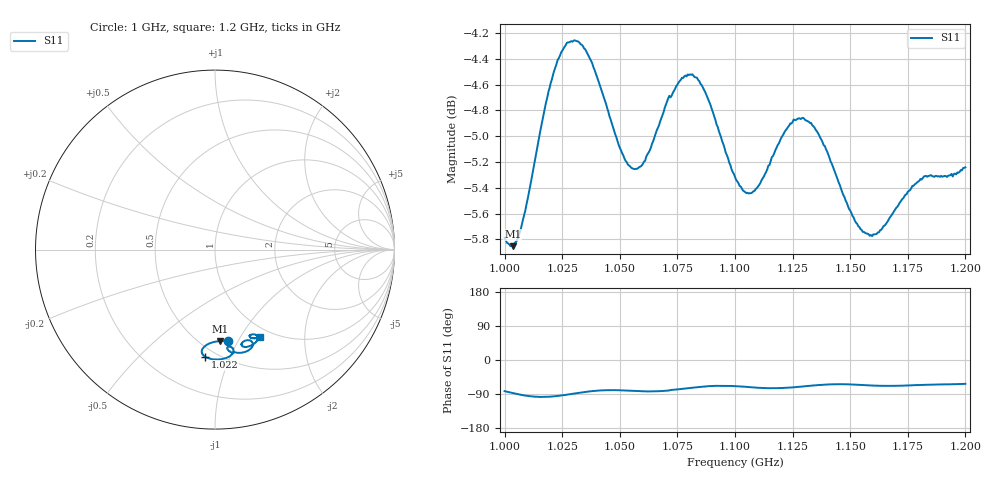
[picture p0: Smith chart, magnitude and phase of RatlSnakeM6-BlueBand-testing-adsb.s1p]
! NanoVNA-App
! Date: 2026-05-22 19:43:28
! Start: 1GHz Stop: 1.2GHz Points: 401
! S-Parameter data: F S11
# Hz S RI R 50
!  Frequency  S11_Real  S11_Imag
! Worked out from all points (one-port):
!   401 points, 1 GHz to 1.2 GHz, reference 50 ohm
!   lowest |S11| = -5.9 dB at 1.004 GHz (marker M1), VSWR 3.08, Z = 30.7 - j42.2 ohm
!   |S11| at or under -10 dB: nowhere
!   S11 on the Smith chart (normalised r, x): 1 GHz: 0.65, -0.91; 1.022 GHz: 0.44, -0.81; 1.2 GHz: 0.88, -1.22
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1e9  0.0697 -0.5089
1.0035e9  0.0267 -0.509
1.009e9  -0.0368 -0.525
1.0135e9  -0.0664 -0.5486
1.0175e9  -0.0739 -0.572
1.0225e9  -0.0543 -0.5972
1.025e9  -0.0352 -0.6059
1.0315e9  0.0279 -0.6115
1.039e9  0.0874 -0.5903
1.044e9  0.1034 -0.5696
1.05e9  0.0965 -0.5481
1.0565e9  0.0779 -0.5405
1.064e9  0.0697 -0.5542
1.0695e9  0.0858 -0.5703
1.075e9  0.1265 -0.5751
1.081e9  0.1684 -0.5697
1.088e9  0.2042 -0.5454
1.0935e9  0.2102 -0.5226
1.1e9  0.1958 -0.5056
1.106e9  0.1698 -0.5065
1.114e9  0.1476 -0.5256
1.12e9  0.1544 -0.5397
1.125e9  0.1739 -0.5423
1.1385e9  0.2356 -0.5056
1.15e9  0.2265 -0.475
1.1625e9  0.1928 -0.4787
1.175e9  0.2084 -0.4929
1.2e9  0.2491 -0.4869
